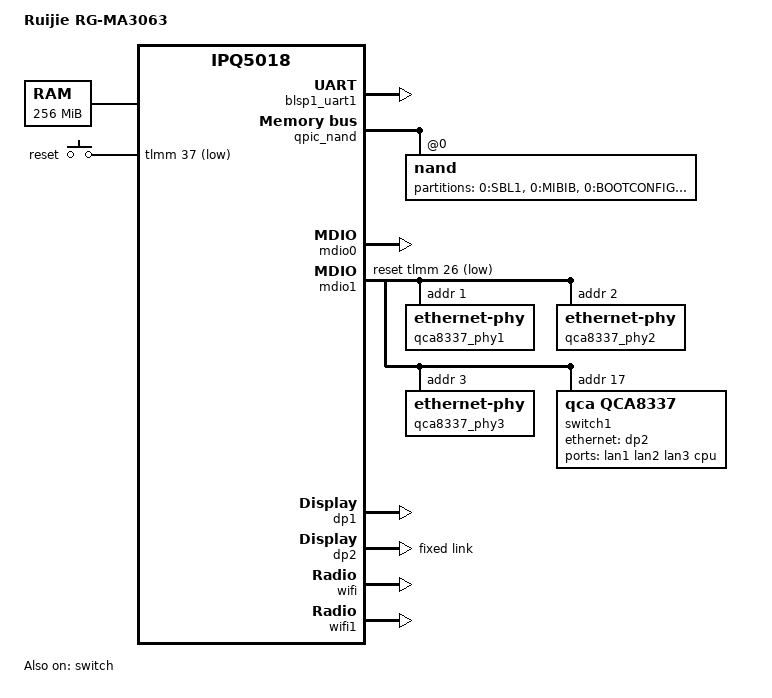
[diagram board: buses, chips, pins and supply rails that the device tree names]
// SPDX-License-Identifier: GPL-2.0-or-later OR MIT
/*
 * Device Tree Source for Ruijie RG-MA3063
 *
 * Hardware Specifications:
 *   SoC  : Qualcomm IPQ5000 (IPQ50xx family, compatible with IPQ5018)
 *   CPU  : Dual-core ARM Cortex-A53 @ 1.0 GHz
 *   RAM  : 256 MB DDR (@ 0x40000000)
 *   Flash: 128 MB SPI NAND
 *   WiFi : AX3000 (2.4 GHz IPQ5018 internal + 5 GHz QCN6122 external)
 *   ETH  : 4x Gigabit RJ45 (1x WAN + 3x LAN), QCA8337 switch
 *   Power: DC 12V
 *
 * Verification Status (all confirmed from live hardware):
 *   ✅ Partition layout  : /proc/mtd (20 partitions)
 *   ✅ GPIO 26 (sw rst)  : dmesg "GPIO26 reset switch done"
 *   ✅ GPIO 37 (reset)   : polling test (active-low, normally HIGH)
 *   ✅ MAC address       : 48:81:d4:8a:dc:e5 (ART offset 0x0)
 *   ✅ IPQ5018 caldata   : ART offset 0x1000, 128KB
 *   ✅ QCN6122 caldata   : ART offset 0x26800, 128KB
 *   ✅ IPQ5018 BDF       : bdwlan.b23 (board_id 23)
 *   ✅ QCN6122 BDF       : qcn6122/bdwlan.b60 (board_id 60)
 *   ✅ WAN               : IPQ5018 GE PHY langsung (MAC0/dp1)
 *   ✅ LAN 1-3           : QCA8337 via SGMII (MAC1/dp2)
 *
 * Topology:
 *   IPQ5018 MAC0 ──GE PHY──────────────── WAN port
 *   IPQ5018 MAC1 ──SGMII──┐
 *                          └─ QCA8337 ──── LAN 1/2/3
 *
 * Copyright (C) 2025 OpenWrt Contributors
 */

/dts-v1/;

#include "ipq5018.dtsi"
#include "ipq5018-qcn6122.dtsi"
#include <dt-bindings/gpio/gpio.h>
#include <dt-bindings/input/input.h>

/ {
	model = "Ruijie RG-MA3063";
	compatible = "ruijie,rg-ma3063", "qcom,ipq5018";

	aliases {
		serial0 = &blsp1_uart1;
	};

	chosen {
		stdout-path = "serial0:115200n8";
		bootargs-append = " ubi.mtd=rootfs root=mtd:ubi_rootfs rootfstype=squashfs rootwait coherent_pool=2M";
	};

	memory@40000000 {
		device_type = "memory";
		reg = <0x0 0x40000000 0x0 0x10000000>;
	};

	/* ============================================================
	 * GPIO KEYS — Reset Button
	 * ✅ GPIO 37 = reset button (verified: polling test, active-low)
	 * ============================================================ */
	keys {
		compatible = "gpio-keys";

		reset {
			label = "reset";
			linux,code = <KEY_RESTART>;
			gpios = <&tlmm 37 GPIO_ACTIVE_LOW>;
			debounce-interval = <60>;
		};
	};
};

/* ==============================================================
 * UART — Serial Console (115200 8N1)
 * ============================================================== */
&blsp1_uart1 {
	status = "okay";
};

/* ==============================================================
 * QPIC NAND FLASH — 128MB SPI NAND
 *
 * ✅ Layout diverifikasi dari /proc/mtd perangkat asli
 * ============================================================== */
&qpic_nand {
	status = "okay";

	nand@0 {
		reg = <0>;
		nand-ecc-strength = <4>;
		nand-ecc-step-size = <512>;
		nand-bus-width = <8>;

		partitions {
			compatible = "fixed-partitions";
			#address-cells = <1>;
			#size-cells = <1>;

			partition@0 {
				label = "0:SBL1";
				reg = <0x0 0x80000>;
				read-only;
			};
			partition@80000 {
				label = "0:MIBIB";
				reg = <0x80000 0x80000>;
				read-only;
			};
			partition@100000 {
				label = "0:BOOTCONFIG";
				reg = <0x100000 0x40000>;
				read-only;
			};
			partition@140000 {
				label = "0:BOOTCONFIG1";
				reg = <0x140000 0x40000>;
				read-only;
			};
			partition@180000 {
				label = "0:QSEE";
				reg = <0x180000 0x100000>;
				read-only;
			};
			partition@280000 {
				label = "0:QSEE_1";
				reg = <0x280000 0x100000>;
				read-only;
			};
			partition@380000 {
				label = "0:DEVCFG";
				reg = <0x380000 0x40000>;
				read-only;
			};
			partition@3c0000 {
				label = "0:DEVCFG_1";
				reg = <0x3c0000 0x40000>;
				read-only;
			};
			partition@400000 {
				label = "0:CDT";
				reg = <0x400000 0x40000>;
				read-only;
			};
			partition@440000 {
				label = "0:CDT_1";
				reg = <0x440000 0x40000>;
				read-only;
			};
			partition@480000 {
				label = "0:APPSBLENV";
				reg = <0x480000 0x80000>;
			};
			partition@500000 {
				label = "0:APPSBL";
				reg = <0x500000 0x140000>;
				read-only;
			};
			partition@640000 {
				label = "0:APPSBL_1";
				reg = <0x640000 0x140000>;
				read-only;
			};

			/*
			 * ⚠ ART — WiFi Calibration + MAC Addresses
			 * JANGAN ditulis ulang!
			 *
			 * Layout (verified from live hardware):
			 *   0x0000  : MAC ETH/WAN  → 48:81:d4:8a:dc:e5
			 *   0x0006  : MAC WiFi 2.4G
			 *   0x1000  : IPQ5018 caldata (128KB)
			 *   0x26800 : QCN6122 caldata (128KB)
			 */
			partition@780000 {
				label = "0:ART";
				reg = <0x780000 0x100000>;
				read-only;

				nvmem-layout {
					compatible = "fixed-layout";
					#address-cells = <1>;
					#size-cells = <1>;

					macaddr_art_eth: macaddr@0 {
						reg = <0x0 0x6>;
					};

					macaddr_art_2g: macaddr@6 {
						reg = <0x6 0x6>;
					};
				};
			};

			partition@880000 {
				label = "0:TRAINING";
				reg = <0x880000 0x80000>;
				read-only;
			};

			/* ← TARGET: OpenWrt dipasang di sini */
			partition@900000 {
				label = "rootfs";
				reg = <0x900000 0x3200000>;
			};

			partition@3b00000 {
				label = "rootfs_1";
				reg = <0x3b00000 0x3200000>;
			};

			partition@6d00000 {
				label = "ttyMTD";
				reg = <0x6d00000 0x120000>;
			};

			partition@6e20000 {
				label = "productinfo";
				reg = <0x6e20000 0x80000>;
				read-only;
			};

			partition@6ea0000 {
				label = "data";
				reg = <0x6ea0000 0x1040000>;
			};
		};
	};
};

/* ==============================================================
 * MDIO0 — IPQ5018 internal GE PHY (WAN port, dp1)
 * ============================================================== */
&mdio0 {
	status = "okay";
};

/* ==============================================================
 * MDIO1 — QCA8337 switch + PHYs
 *
 * ✅ GPIO 26 = switch reset (verified: dmesg "GPIO26 reset switch done")
 *
 * MA3063 port mapping:
 *   phy@1 → LAN1
 *   phy@2 → LAN2
 *   phy@3 → LAN3
 *   (WAN adalah dp1 via GE PHY, bukan port QCA8337)
 * ============================================================== */
&mdio1 {
	status = "okay";

	pinctrl-0 = <&mdio1_pins>;
	pinctrl-names = "default";
	reset-gpios = <&tlmm 26 GPIO_ACTIVE_LOW>;

	qca8337_phy1: ethernet-phy@1 {
		reg = <1>;
	};

	qca8337_phy2: ethernet-phy@2 {
		reg = <2>;
	};

	qca8337_phy3: ethernet-phy@3 {
		reg = <3>;
	};

	switch1: ethernet-switch@17 {
		compatible = "qca,qca8337";
		reg = <17>;
		#address-cells = <1>;
		#size-cells = <0>;

		ports {
			#address-cells = <1>;
			#size-cells = <0>;

			port@2 {
				reg = <2>;
				label = "lan1";
				phy-handle = <&qca8337_phy1>;
			};

			port@3 {
				reg = <3>;
				label = "lan2";
				phy-handle = <&qca8337_phy2>;
			};

			port@4 {
				reg = <4>;
				label = "lan3";
				phy-handle = <&qca8337_phy3>;
			};

			/* CPU port — terhubung ke dp2 via SGMII */
			port@6 {
				reg = <6>;
				label = "cpu";
				phy-mode = "sgmii";
				ethernet = <&dp2>;
				qca,sgmii-enable-pll;

				fixed-link {
					speed = <1000>;
					full-duplex;
				};
			};
		};
	};
};

/* ==============================================================
 * ESS SWITCH — kernel 6.12: node name &switch
 *
 * MAC0 → GE PHY → WAN (dp1, direct)
 * MAC1 → SGMII  → QCA8337 (dp2, LAN 1-3)
 * ============================================================== */
&switch {
	status = "okay";

	switch_mac_mode = <0>;

	qcom,port_phyinfo {
		/* MAC0 → GE PHY → WAN */
		port@0 {
			port_id = <1>;
			mdiobus = <&mdio0>;
			phy_address = <7>;
		};

		/* MAC1 → SGMII → QCA8337 SerDes */
		port@1 {
			port_id = <2>;
			forced-speed = <1000>;
			forced-duplex = <1>;
		};
	};
};

/* ==============================================================
 * DATA PATH
 * dp1 = WAN  (MAC0 → GE PHY)
 * dp2 = LAN  (MAC1 → SGMII → QCA8337)
 * ============================================================== */
&dp1 {
	status = "okay";
	label = "wan";

	nvmem-cells = <&macaddr_art_eth>;
	nvmem-cell-names = "mac-address";
};

&dp2 {
	status = "okay";

	nvmem-cells = <&macaddr_art_eth>;
	nvmem-cell-names = "mac-address";
	mac-address-increment = <1>;

	fixed-link {
		speed = <1000>;
		full-duplex;
	};
};

/* ==============================================================
 * QCN6122 — remoteproc boot-args
 *
 * QCN6122 diboot oleh WCSS Q6 sebagai user-PD.
 * UPD ID 2 untuk QCN6122 (type 0x1 = PCIE0).
 * ============================================================== */
&q6v5_wcss {
	boot-args = <
			/*   type: */	0x1	/* PCIE0 */
			/* length: */	4
			/* UPD ID: */	2
			/*  reset: */	0	/* no dedicated reset GPIO */
			/*   rsvd: */	0 0>;
};

/* ==============================================================
 * WiFi 2.4GHz — IPQ5018 Internal Radio (ath11k)
 *
 * ✅ BDF aktif: bdwlan.b23 (board_id 23, confirmed dmesg cnss[2])
 * ✅ BDF addr  : 0x4c400000 (standard IPQ5018 BDF load address)
 * ============================================================== */
&wifi {
	status = "okay";

	qcom,rproc = <&q6_wcss_pd1>;
	qcom,ath11k-calibration-variant = "Ruijie-RG-MA3063";
	qcom,ath11k-fw-memory-mode = <1>;
	qcom,bdf-addr = <0x4c400000>;

	nvmem-cells = <&macaddr_art_2g>;
	nvmem-cell-names = "mac-address";
};

/* ==============================================================
 * WiFi 5GHz — QCN6122 External Radio (ath11k MPD)
 *
 * ✅ BDF aktif: qcn6122/bdwlan.b60 (board_id 60, confirmed dmesg cnss[41])
 * ✅ BDF addr  : 0x4d100000 (standard QCN6122 BDF load address)
 * ============================================================== */
&wifi1 {
	status = "okay";

	qcom,rproc = <&q6_wcss_pd2>;
	qcom,userpd-subsys-name = "q6v5_wcss_userpd2";
	qcom,ath11k-calibration-variant = "Ruijie-RG-MA3063";
	qcom,ath11k-fw-memory-mode = <1>;
	qcom,bdf-addr = <0x4d100000>;
	qcom,m3-dump-addr = <0x4df00000>;

	nvmem-cells = <&macaddr_art_eth>;
	nvmem-cell-names = "mac-address";
	mac-address-increment = <2>;
};
